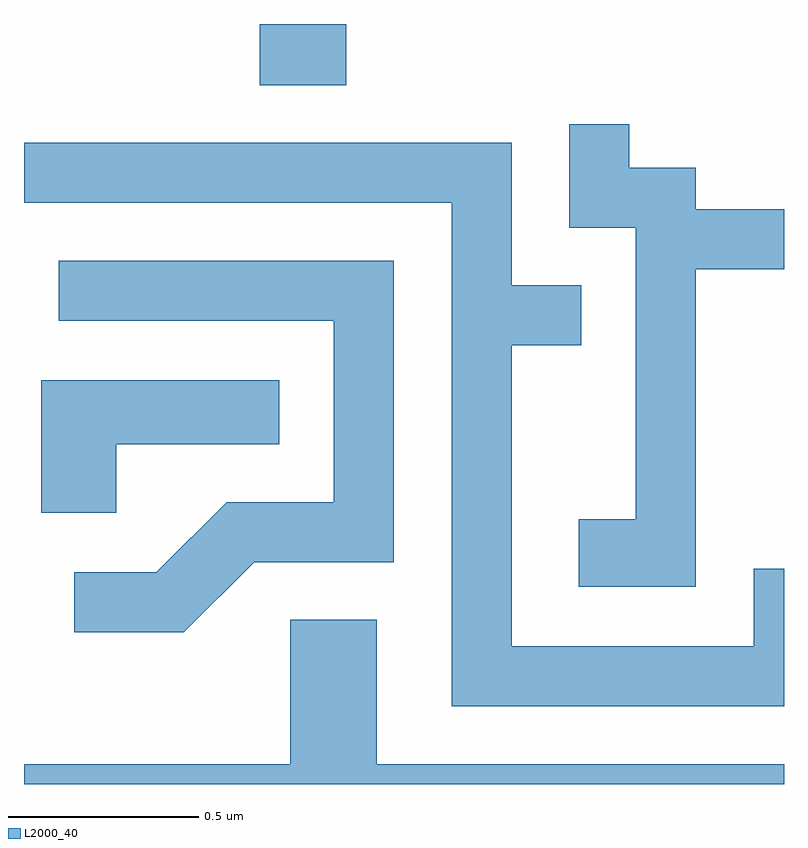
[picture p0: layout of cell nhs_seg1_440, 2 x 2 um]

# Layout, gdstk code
import gdstk
lib = gdstk.Library(unit=1e-6, precision=1e-09)
def R(c, l, rs):  # rectangles x0, y0, x1, y1
    for r in rs: c.add(gdstk.rectangle(r[:2], r[2:], *l))
def P(c, l, *ps):  # polygons
    for p in ps: c.add(gdstk.Polygon(p, *l))
L2000_40 = (2000, 40)

nhs_seg1_440 = lib.new_cell('nhs_seg1_440')
R(nhs_seg1_440, L2000_40, [(189.231,870.551,189.459,870.712)])
P(nhs_seg1_440, L2000_40, [(190.379,870.066),(190.611,870.066),(190.611,870.224),(190.379,870.224),(190.379,870.334),(190.204,870.334),(190.204,870.448),(190.046,870.448),(190.046,870.176),(190.221,870.176),(190.221,869.409),(190.071,869.409),(190.071,869.231),(190.379,869.231)],
  [(190.611,869.279),(190.531,869.279),(190.531,869.074),(189.894,869.074),(189.894,869.866),(190.078,869.866),(190.078,870.024),(189.894,870.024),(189.894,870.399),(188.611,870.399),(188.611,870.241),(189.736,870.241),(189.736,868.916),(190.611,868.916)],
  [(189.217,869.296),(189.584,869.296),(189.584,870.089),(188.703,870.089),(188.703,869.931),(189.426,869.931),(189.426,869.454),(189.144,869.454),(188.959,869.269),(188.743,869.269),(188.743,869.111),(189.032,869.111)],
  [(188.854,869.606),(189.283,869.606),(189.283,869.774),(188.656,869.774),(188.656,869.426),(188.854,869.426)],
  [(190.611,868.764),(189.539,868.764),(189.539,869.144),(189.311,869.144),(189.311,868.764),(188.611,868.764),(188.611,868.712),(190.611,868.712)])

lib.write_gds('nhs_seg1_440.gds')
